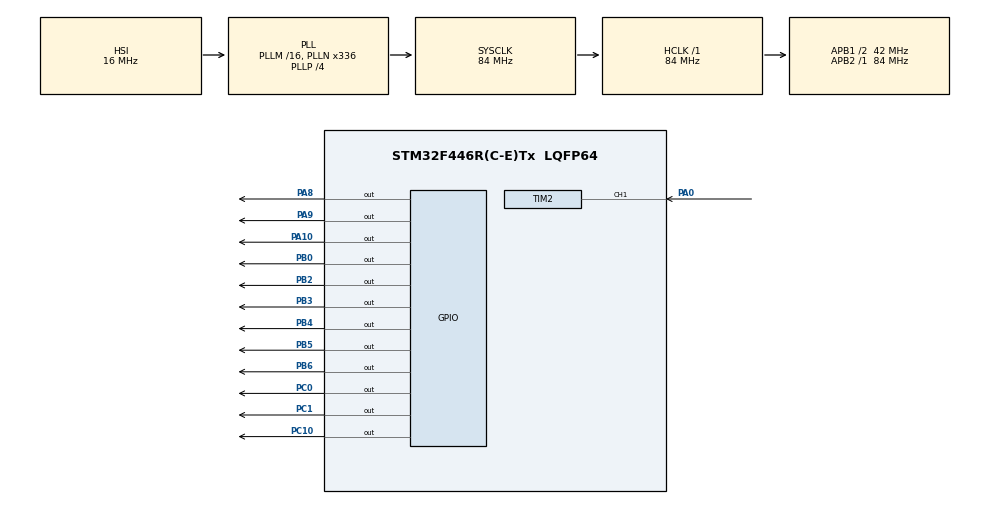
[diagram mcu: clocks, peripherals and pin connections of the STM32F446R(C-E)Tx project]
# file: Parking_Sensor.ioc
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Mcu.Family=STM32F4
Mcu.Name=STM32F446R(C-E)Tx
Mcu.Package=LQFP64
NVIC.PriorityGroup=NVIC_PRIORITYGROUP_0
NVIC.TIM2_IRQn=true\:0\:0\:false\:false\:true\:true\:true\:true
NVIC.TIM3_IRQn=true\:0\:0\:false\:false\:true\:true\:true\:true
NVIC.TIM4_IRQn=true\:0\:0\:false\:false\:true\:true\:true\:true
PA0-WKUP.Signal=S_TIM2_CH1_ETR
PA10.Signal=GPIO_Output
PA13.Mode=Serial_Wire
PA13.Signal=SYS_JTMS-SWDIO
PA14.Mode=Serial_Wire
PA14.Signal=SYS_JTCK-SWCLK
PA8.Signal=GPIO_Output
PA9.Signal=GPIO_Output
PB0.Signal=GPIO_Output
PB2.Signal=GPIO_Output
PB3.Signal=GPIO_Output
PB4.Signal=GPIO_Output
PB5.Signal=GPIO_Output
PB6.Signal=GPIO_Output
PC0.Signal=GPIO_Output
PC1.Signal=GPIO_Output
PC10.Signal=GPIO_Output
ProjectManager.HeapSize=0x200
ProjectManager.StackSize=0x400
ProjectManager.TargetToolchain=STM32CubeIDE
RCC.48MHZClocksFreq_Value=84000000
RCC.AHBFreq_Value=84000000
RCC.APB1CLKDivider=RCC_HCLK_DIV2
RCC.APB1Freq_Value=42000000
RCC.APB1TimFreq_Value=84000000
RCC.APB2Freq_Value=84000000
RCC.APB2TimFreq_Value=84000000
RCC.CortexFreq_Value=84000000
RCC.FLatency-AdvancedSettings=FLASH_LATENCY_2
RCC.HCLKFreq_Value=84000000
RCC.HSE_VALUE=8000000
RCC.HSI_VALUE=16000000
RCC.PLLN=336
RCC.PLLP=RCC_PLLP_DIV4
RCC.SYSCLKFreq_VALUE=84000000
RCC.SYSCLKSource=RCC_SYSCLKSOURCE_PLLCLK
RCC.USBFreq_Value=168000000
RCC.VCOOutputFreq_Value=336000000
SH.S_TIM2_CH1_ETR.0=TIM2_CH1,Input_Capture1_from_TI1
TIM1.Prescaler=83
TIM2.Channel-Input_Capture1_from_TI1=TIM_CHANNEL_1
TIM2.ICPolarity_CH1=TIM_INPUTCHANNELPOLARITY_RISING
TIM2.Period=65535
TIM2.Prescaler=83
TIM3.Period=999
TIM3.Prescaler=8399
TIM4.Period=1
TIM4.Prescaler=8399
VP_TIM1_VS_ClockSourceINT.Mode=Internal
VP_TIM3_VS_ClockSourceINT.Mode=Internal
VP_TIM4_VS_ClockSourceINT.Mode=Internal
board=NUCLEO-F446RE

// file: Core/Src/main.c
/* USER CODE BEGIN Header */
/**
  ******************************************************************************
  * @file           : main.c
  * @brief          : Main program body
  ******************************************************************************
  * @attention
  *
  * Copyright (c) 2025 STMicroelectronics.
  * All rights reserved.
  *
  * This software is licensed under terms that can be found in the LICENSE file
  * in the root directory of this software component.
  * If no LICENSE file comes with this software, it is provided AS-IS.
  *
  ******************************************************************************
  */
/* USER CODE END Header */
#include "main.h"
#include "tim.h"
#include "gpio.h"

/* USER CODE BEGIN PV */
#define DIG1_GPIO_Port GPIOC
#define DIG1_Pin       GPIO_PIN_0
#define DIG2_GPIO_Port GPIOC
#define DIG2_Pin       GPIO_PIN_1
#define SEG_A_PIN      GPIO_PIN_0
#define SEG_A_PORT     GPIOB
#define SEG_B_PIN      GPIO_PIN_10
#define SEG_B_PORT     GPIOC
#define SEG_C_PIN      GPIO_PIN_2
#define SEG_C_PORT     GPIOB
#define SEG_D_PIN      GPIO_PIN_3
#define SEG_D_PORT     GPIOB
#define SEG_E_PIN      GPIO_PIN_4
#define SEG_E_PORT     GPIOB
#define SEG_F_PIN      GPIO_PIN_5
#define SEG_F_PORT     GPIOB
#define SEG_G_PIN      GPIO_PIN_6
#define SEG_G_PORT     GPIOB

#define TRIG_PIN        GPIO_PIN_10
#define TRIG_PORT       GPIOA
#define LED_RED_PIN     GPIO_PIN_8
#define LED_RED_PORT    GPIOA
#define LED_GREEN_PIN   GPIO_PIN_9
#define LED_GREEN_PORT  GPIOA
#define DISTANCE_FILTER_SIZE 5

const uint8_t seg_digits[10] = {
	    0b00111111, // 0
	    0b00000110, // 1
	    0b01011011, // 2
	    0b01001111, // 3
	    0b01100110, // 4
	    0b01101101, // 5
	    0b01111101, // 6
	    0b00000111, // 7
	    0b01111111, // 8
	    0b01101111  // 9
};

uint32_t echo_start_time = 0;
uint32_t echo_end_time  = 0;
uint8_t waiting_for_falling_edge = 0;
uint32_t distance_cm = 0;

uint32_t distance_history[DISTANCE_FILTER_SIZE] = {0};
uint8_t distance_history_index = 0;
uint32_t calculate_average_distance(uint32_t new_distance);
/* USER CODE END PV */

void SystemClock_Config(void);

/* USER CODE BEGIN 0 */
void DisplayDigit(uint8_t digit, uint8_t position) {
    HAL_GPIO_WritePin(DIG1_GPIO_Port, DIG1_Pin, GPIO_PIN_SET);
    HAL_GPIO_WritePin(DIG2_GPIO_Port, DIG2_Pin, GPIO_PIN_SET);

    if (position == 0){
    	HAL_GPIO_WritePin(DIG1_GPIO_Port, DIG1_Pin, GPIO_PIN_RESET);
    }
    else{
    	HAL_GPIO_WritePin(DIG2_GPIO_Port, DIG2_Pin, GPIO_PIN_RESET);
    }

    HAL_GPIO_WritePin(SEG_A_PORT, SEG_A_PIN, (seg_digits[digit] & 0b0000001) ? GPIO_PIN_SET : GPIO_PIN_RESET);
    HAL_GPIO_WritePin(SEG_B_PORT, SEG_B_PIN, (seg_digits[digit] & 0b0000010) ? GPIO_PIN_SET : GPIO_PIN_RESET);
    HAL_GPIO_WritePin(SEG_C_PORT, SEG_C_PIN, (seg_digits[digit] & 0b0000100) ? GPIO_PIN_SET : GPIO_PIN_RESET);
    HAL_GPIO_WritePin(SEG_D_PORT, SEG_D_PIN, (seg_digits[digit] & 0b0001000) ? GPIO_PIN_SET : GPIO_PIN_RESET);
    HAL_GPIO_WritePin(SEG_E_PORT, SEG_E_PIN, (seg_digits[digit] & 0b0010000) ? GPIO_PIN_SET : GPIO_PIN_RESET);
    HAL_GPIO_WritePin(SEG_F_PORT, SEG_F_PIN, (seg_digits[digit] & 0b0100000) ? GPIO_PIN_SET : GPIO_PIN_RESET);
    HAL_GPIO_WritePin(SEG_G_PORT, SEG_G_PIN, (seg_digits[digit] & 0b1000000) ? GPIO_PIN_SET : GPIO_PIN_RESET);
}

void delay_us(uint16_t us)
{
    __HAL_TIM_SET_COUNTER(&htim1, 0);
    while (__HAL_TIM_GET_COUNTER(&htim1) < us);
}

void HCSR04_Read(void)
{
    HAL_GPIO_WritePin(TRIG_PORT, TRIG_PIN, GPIO_PIN_SET);
    delay_us(10);
    HAL_GPIO_WritePin(TRIG_PORT, TRIG_PIN, GPIO_PIN_RESET);
}

/* USER CODE END 0 */

int main(void)
{

  /* MCU Configuration--------------------------------------------------------*/

  /* Reset of all peripherals, Initializes the Flash interface and the Systick. */
  HAL_Init();

  /* Configure the system clock */
  SystemClock_Config();

  /* Initialize all configured peripherals */
  MX_GPIO_Init();
  MX_TIM1_Init();
  MX_TIM2_Init();
  MX_TIM3_Init();
  MX_TIM4_Init();
  /* USER CODE BEGIN 2 */
    HAL_TIM_IC_Start_IT(&htim2, TIM_CHANNEL_1);
    HAL_TIM_Base_Start_IT(&htim3);
    HAL_TIM_Base_Start(&htim1);
    HAL_TIM_Base_Start_IT(&htim4);
  /* USER CODE END 2 */

  /* Infinite loop */
    while (1)
    {

    /* USER CODE BEGIN 3 */
    	HCSR04_Read();
    	HAL_Delay(60);
    }
  /* USER CODE END 3 */
}

void SystemClock_Config(void)
{
  RCC_OscInitTypeDef RCC_OscInitStruct = {0};
  RCC_ClkInitTypeDef RCC_ClkInitStruct = {0};

  /** Configure the main internal regulator output voltage
  */
  __HAL_RCC_PWR_CLK_ENABLE();
  __HAL_PWR_VOLTAGESCALING_CONFIG(PWR_REGULATOR_VOLTAGE_SCALE3);

  /** Initializes the RCC Oscillators according to the specified parameters
  * in the RCC_OscInitTypeDef structure.
  */
  RCC_OscInitStruct.OscillatorType = RCC_OSCILLATORTYPE_HSI;
  RCC_OscInitStruct.HSIState = RCC_HSI_ON;
  RCC_OscInitStruct.HSICalibrationValue = RCC_HSICALIBRATION_DEFAULT;
  RCC_OscInitStruct.PLL.PLLState = RCC_PLL_ON;
  RCC_OscInitStruct.PLL.PLLSource = RCC_PLLSOURCE_HSI;
  RCC_OscInitStruct.PLL.PLLM = 16;
  RCC_OscInitStruct.PLL.PLLN = 336;
  RCC_OscInitStruct.PLL.PLLP = RCC_PLLP_DIV4;
  RCC_OscInitStruct.PLL.PLLQ = 2;
  RCC_OscInitStruct.PLL.PLLR = 2;
  if (HAL_RCC_OscConfig(&RCC_OscInitStruct) != HAL_OK)
  {
    Error_Handler();
  }

  /** Initializes the CPU, AHB and APB buses clocks
  */
  RCC_ClkInitStruct.ClockType = RCC_CLOCKTYPE_HCLK|RCC_CLOCKTYPE_SYSCLK
                              |RCC_CLOCKTYPE_PCLK1|RCC_CLOCKTYPE_PCLK2;
  RCC_ClkInitStruct.SYSCLKSource = RCC_SYSCLKSOURCE_PLLCLK;
  RCC_ClkInitStruct.AHBCLKDivider = RCC_SYSCLK_DIV1;
  RCC_ClkInitStruct.APB1CLKDivider = RCC_HCLK_DIV2;
  RCC_ClkInitStruct.APB2CLKDivider = RCC_HCLK_DIV1;

  if (HAL_RCC_ClockConfig(&RCC_ClkInitStruct, FLASH_LATENCY_2) != HAL_OK)
  {
    Error_Handler();
  }
}

/* USER CODE BEGIN 4 */
void HAL_TIM_IC_CaptureCallback(TIM_HandleTypeDef *htim)
{
    if (htim->Channel == HAL_TIM_ACTIVE_CHANNEL_1)
    {
        if (waiting_for_falling_edge == 0)
        {
            echo_start_time = HAL_TIM_ReadCapturedValue(htim, TIM_CHANNEL_1);
            waiting_for_falling_edge = 1;

            __HAL_TIM_SET_CAPTUREPOLARITY(htim,TIM_CHANNEL_1,TIM_INPUTCHANNELPOLARITY_FALLING);
        } else {
            echo_end_time = HAL_TIM_ReadCapturedValue(htim, TIM_CHANNEL_1);

            __HAL_TIM_SET_CAPTUREPOLARITY(htim,TIM_CHANNEL_1,TIM_INPUTCHANNELPOLARITY_RISING);

            uint32_t pulse_width;

            if (echo_end_time >= echo_start_time)
            {
                pulse_width = echo_end_time - echo_start_time;
            } else {
                pulse_width = (0xFFFF - echo_start_time + 1) + echo_end_time;
            }

            distance_cm = pulse_width / 58;

            waiting_for_falling_edge = 0;
        }
    }
}

void HAL_TIM_PeriodElapsedCallback(TIM_HandleTypeDef *htim) {
    static uint8_t current_digit = 0;

    if (htim->Instance == TIM4) {
    	uint32_t avg_distance = calculate_average_distance(distance_cm);
    	uint8_t tens = (avg_distance / 10) % 10;
    	uint8_t ones = avg_distance % 10;

        if (current_digit == 0) {
            DisplayDigit(tens, 0);
            current_digit = 1;
        } else {
            DisplayDigit(ones, 1);
            current_digit = 0;
        }
    }

    if (htim->Instance == TIM3) {
        if (distance_cm < 10) {
            HAL_GPIO_TogglePin(LED_RED_PORT, LED_RED_PIN);
            HAL_GPIO_WritePin(LED_GREEN_PORT, LED_GREEN_PIN, GPIO_PIN_RESET);
        } else {
            HAL_GPIO_TogglePin(LED_GREEN_PORT, LED_GREEN_PIN);
            HAL_GPIO_WritePin(LED_RED_PORT, LED_RED_PIN, GPIO_PIN_RESET);
        }
    }
}

uint32_t calculate_average_distance(uint32_t new_distance) {
    distance_history[distance_history_index] = new_distance;
    distance_history_index = (distance_history_index + 1) % DISTANCE_FILTER_SIZE;

    uint32_t sum = 0;
    for (uint8_t i = 0; i < DISTANCE_FILTER_SIZE; i++) {
        sum += distance_history[i];
    }
    return sum / DISTANCE_FILTER_SIZE;
}
/* USER CODE END 4 */

void Error_Handler(void)
{
    __disable_irq();
    while (1)
    {
    }
}
